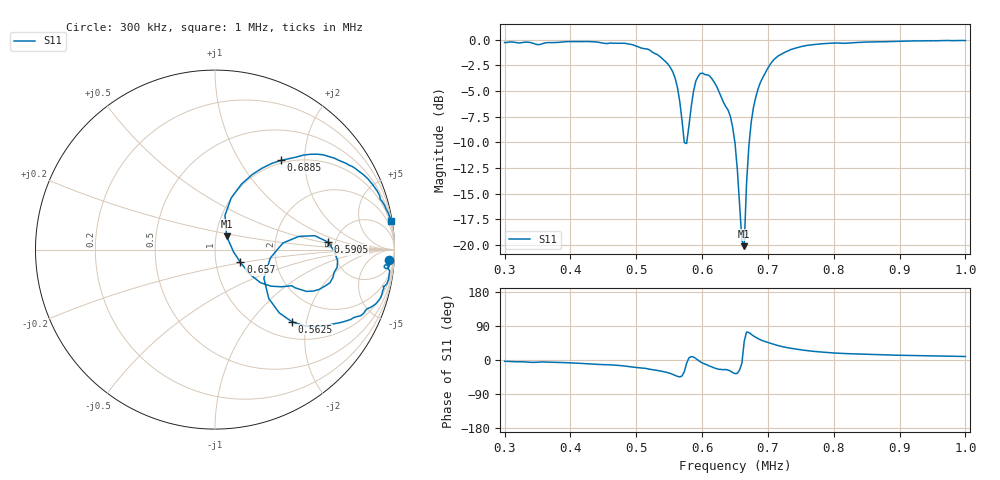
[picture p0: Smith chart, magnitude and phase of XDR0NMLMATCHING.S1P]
!Agilent Technologies,E5071C,MY46100305,A.07.02
!Date: Fri Jan 01 00:23:27 1988
!Data & Calibration Information:
!Freq	S11:SOLT1(ON)
# Hz S MA R 50
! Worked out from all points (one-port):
!   201 points, 300 kHz to 1 MHz, reference 50 ohm
!   lowest |S11| = -20.1 dB at 664 kHz (marker M1), VSWR 1.22, Z = 56.2 + j8.46 ohm
!   |S11| at or under -10 dB: 573 kHz to 576.7 kHz (3.753 kHz wide, 0.653 % of centre); 649.8 kHz to 671.6 kHz (21.79 kHz wide, 3.3 % of centre)
!   S11 on the Smith chart (normalised r, x): 300 kHz: 14, -27; 562.5 kHz: 1.34, -1.64; 590.5 kHz: 4.31, +0.61; 657 kHz: 1.31, -0.19; 688.5 kHz: 0.95, +1.54; 1 MHz: 1, +12
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300000  0.9701 -3.4
387500  0.9759 -6.7
475000  0.9625 -14.6
531000  0.8512 -27.2
548500  0.7594 -33.7
562500  0.5867 -43.2
569500  0.405 -42.3
573000  0.3156 -30.4
576500  0.3123 -8.5
583500  0.4724 9.0
590500  0.6299 3.9
601000  0.6875 -8.3
618500  0.6212 -20.9
643000  0.4231 -29.3
650000  0.3135 -36.0
657000  0.1578 -26.4
660500  0.1051 -7.8
664000  0.09865 49.1
667500  0.1987 73.7
671000  0.3015 72.6
674500  0.394 67.9
688500  0.6186 53.5
713000  0.8212 39.0
737500  0.9024 30.1
772500  0.9504 22.3
825000  0.9662 16.5
912500  0.9867 11.9
1000000  0.9913 9.3
